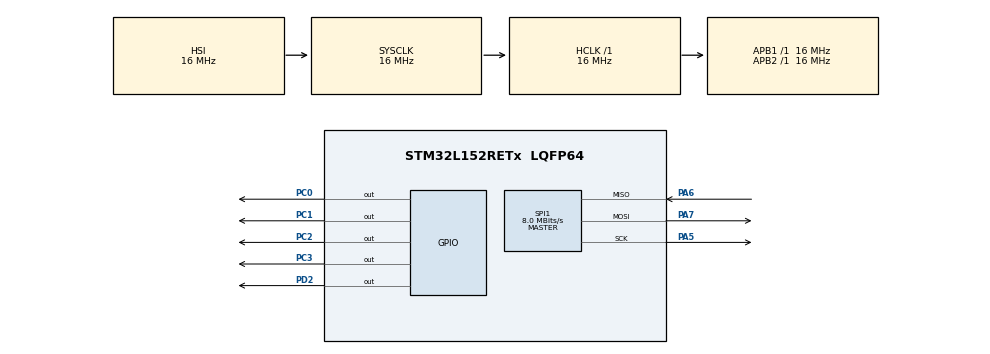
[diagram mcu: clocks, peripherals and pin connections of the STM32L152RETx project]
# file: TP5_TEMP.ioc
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ADC.Channel-1\#ChannelRegularConversion=ADC_CHANNEL_TEMPSENSOR
ADC.NbrOfConversionFlag=1
ADC.Rank-1\#ChannelRegularConversion=1
ADC.SamplingTime-1\#ChannelRegularConversion=ADC_SAMPLETIME_4CYCLES
Mcu.Family=STM32L1
Mcu.Name=STM32L152RETx
Mcu.Package=LQFP64
NVIC.PriorityGroup=NVIC_PRIORITYGROUP_4
PA0-WKUP1.Signal=ADC_IN0
PA5.Mode=Full_Duplex_Master
PA5.Signal=SPI1_SCK
PA6.Mode=Full_Duplex_Master
PA6.Signal=SPI1_MISO
PA7.Mode=Full_Duplex_Master
PA7.Signal=SPI1_MOSI
PB15.Signal=S_TIM11_CH1
PB7.Signal=S_TIM4_CH2
PC0.Signal=GPIO_Output
PC1.PinState=GPIO_PIN_SET
PC1.Signal=GPIO_Output
PC2.PinState=GPIO_PIN_SET
PC2.Signal=GPIO_Output
PC3.PinState=GPIO_PIN_SET
PC3.Signal=GPIO_Output
PD2.PinState=GPIO_PIN_SET
PD2.Signal=GPIO_Output
ProjectManager.HeapSize=0x200
ProjectManager.StackSize=0x400
ProjectManager.TargetToolchain=STM32CubeIDE
RCC.AHBFreq_Value=16000000
RCC.APB1Freq_Value=16000000
RCC.APB1TimFreq_Value=16000000
RCC.APB2Freq_Value=16000000
RCC.APB2TimFreq_Value=16000000
RCC.HCLKFreq_Value=16000000
RCC.HSE_VALUE=24000000
RCC.HSI_VALUE=16000000
RCC.LSE_VALUE=32768
RCC.MSI_VALUE=2097000
RCC.SYSCLKFreq_VALUE=16000000
RCC.SYSCLKSource=RCC_SYSCLKSOURCE_HSI
RCC.VCOOutputFreq_Value=48000000
SH.S_TIM11_CH1.0=TIM11_CH1
SH.S_TIM4_CH2.0=TIM4_CH2
SPI1.CalculateBaudRate=8.0 MBits/s
SPI1.Direction=SPI_DIRECTION_2LINES
SPI1.Mode=SPI_MODE_MASTER
SPI1.VirtualType=VM_MASTER
VP_ADC_TempSens_Input.Mode=IN-TempSens
board=custom

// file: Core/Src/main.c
/* USER CODE BEGIN Header */
/**
  ******************************************************************************
  * @file           : main.c
  * @brief          : Main program body
  ******************************************************************************
  * @attention
  *
  * Copyright (c) 2025 STMicroelectronics.
  * All rights reserved.
  *
  * This software is licensed under terms that can be found in the LICENSE file
  * in the root directory of this software component.
  * If no LICENSE file comes with this software, it is provided AS-IS.
  *
  ******************************************************************************
  */
/* USER CODE END Header */
#include "main.h"

/* USER CODE BEGIN Includes */
#include "max7219.h"
#include "fonc_tft.h"

/* USER CODE END Includes */

ADC_HandleTypeDef hadc;

SPI_HandleTypeDef hspi1;

void SystemClock_Config(void);
static void MX_GPIO_Init(void);
static void MX_SPI1_Init(void);
static void MX_ADC_Init(void);
/* USER CODE BEGIN PFP */
void affiche_nombre(uint32_t nombre, uint8_t col, uint8_t ligne);

/* USER CODE END PFP */

/* USER CODE BEGIN 0 */
void affiche_nombre(uint32_t nombre, uint8_t col, uint8_t ligne) {
    if (nombre < 0 || nombre > 9999) {
        return;
    }

    uint8_t mil = nombre / 1000;
    uint8_t cen = (nombre / 100) % 10;
    uint8_t diz = (nombre / 10) % 10;
    uint8_t uni = nombre % 10;

    displayChar_TFT(col, ligne, mil + 0x30, ST7735_YELLOW, ST7735_BLACK, 2);
    displayChar_TFT(col + 12, ligne, cen + 0x30, ST7735_YELLOW, ST7735_BLACK, 2);
    displayChar_TFT(col + 24, ligne, diz + 0x30, ST7735_YELLOW, ST7735_BLACK, 2);
    displayChar_TFT(col + 36, ligne, uni + 0x30, ST7735_YELLOW, ST7735_BLACK, 2);
    displayChar_TFT(col + 48, ligne, ' ', ST7735_YELLOW, ST7735_BLACK, 2);
    displayChar_TFT(col + 60, ligne, 'C', ST7735_YELLOW, ST7735_BLACK, 2);
}

/* USER CODE END 0 */

int main(void)
{

  /* MCU Configuration--------------------------------------------------------*/

  /* Reset of all peripherals, Initializes the Flash interface and the Systick. */
  HAL_Init();

  /* Configure the system clock */
  SystemClock_Config();

  /* Initialize all configured peripherals */
  MX_GPIO_Init();
  MX_SPI1_Init();
  MX_ADC_Init();
  /* USER CODE BEGIN 2 */
  MAX7219_Init();
  init_TFT();
  MAX7219_Clear();

  /* USER CODE END 2 */

  /* Infinite loop */
  /* USER CODE BEGIN WHILE */
  const uint16_t TS_CAL1 = *(uint16_t*)0x1FF800FA;
  const uint16_t TS_CAL2 = *(uint16_t*)0x1FF800FE;
  const uint16_t VREFINT_CAL = *(uint16_t*)0x1FF800F8;
  const int32_t vrefint_value = 1210;
  float vdda_div_3 = (float)VREFINT_CAL / vrefint_value;
  while (1)
  {
    /* USER CODE END WHILE */

    /* USER CODE BEGIN 3 */
	  HAL_ADC_Start(&hadc);
	  HAL_ADC_PollForConversion(&hadc, 1000);
	  uint32_t temp_value = (HAL_ADC_GetValue(&hadc) / 4096.0) * 3300;
	  HAL_ADC_Stop(&hadc);
	  float temperature = 80 * (temp_value * vdda_div_3 - TS_CAL1) / (TS_CAL2 - TS_CAL1) + 30;
	  affiche_nombre((uint32_t)(temperature), 10, 80);
  }

  /* USER CODE END 3 */
}

void SystemClock_Config(void)
{
  RCC_OscInitTypeDef RCC_OscInitStruct = {0};
  RCC_ClkInitTypeDef RCC_ClkInitStruct = {0};

  /** Configure the main internal regulator output voltage
  */
  __HAL_PWR_VOLTAGESCALING_CONFIG(PWR_REGULATOR_VOLTAGE_SCALE1);

  /** Initializes the RCC Oscillators according to the specified parameters
  * in the RCC_OscInitTypeDef structure.
  */
  RCC_OscInitStruct.OscillatorType = RCC_OSCILLATORTYPE_HSI;
  RCC_OscInitStruct.HSIState = RCC_HSI_ON;
  RCC_OscInitStruct.HSICalibrationValue = RCC_HSICALIBRATION_DEFAULT;
  RCC_OscInitStruct.PLL.PLLState = RCC_PLL_NONE;
  if (HAL_RCC_OscConfig(&RCC_OscInitStruct) != HAL_OK)
  {
    Error_Handler();
  }

  /** Initializes the CPU, AHB and APB buses clocks
  */
  RCC_ClkInitStruct.ClockType = RCC_CLOCKTYPE_HCLK|RCC_CLOCKTYPE_SYSCLK
                              |RCC_CLOCKTYPE_PCLK1|RCC_CLOCKTYPE_PCLK2;
  RCC_ClkInitStruct.SYSCLKSource = RCC_SYSCLKSOURCE_HSI;
  RCC_ClkInitStruct.AHBCLKDivider = RCC_SYSCLK_DIV1;
  RCC_ClkInitStruct.APB1CLKDivider = RCC_HCLK_DIV1;
  RCC_ClkInitStruct.APB2CLKDivider = RCC_HCLK_DIV1;

  if (HAL_RCC_ClockConfig(&RCC_ClkInitStruct, FLASH_LATENCY_0) != HAL_OK)
  {
    Error_Handler();
  }
}

static void MX_ADC_Init(void)
{

  ADC_ChannelConfTypeDef sConfig = {0};

  /** Configure the global features of the ADC (Clock, Resolution, Data Alignment and number of conversion)
  */
  hadc.Instance = ADC1;
  hadc.Init.ClockPrescaler = ADC_CLOCK_ASYNC_DIV1;
  hadc.Init.Resolution = ADC_RESOLUTION_12B;
  hadc.Init.DataAlign = ADC_DATAALIGN_RIGHT;
  hadc.Init.ScanConvMode = ADC_SCAN_DISABLE;
  hadc.Init.EOCSelection = ADC_EOC_SEQ_CONV;
  hadc.Init.LowPowerAutoWait = ADC_AUTOWAIT_DISABLE;
  hadc.Init.LowPowerAutoPowerOff = ADC_AUTOPOWEROFF_DISABLE;
  hadc.Init.ChannelsBank = ADC_CHANNELS_BANK_A;
  hadc.Init.ContinuousConvMode = DISABLE;
  hadc.Init.NbrOfConversion = 1;
  hadc.Init.DiscontinuousConvMode = DISABLE;
  hadc.Init.ExternalTrigConv = ADC_SOFTWARE_START;
  hadc.Init.ExternalTrigConvEdge = ADC_EXTERNALTRIGCONVEDGE_NONE;
  hadc.Init.DMAContinuousRequests = DISABLE;
  if (HAL_ADC_Init(&hadc) != HAL_OK)
  {
    Error_Handler();
  }

  /** Configure for the selected ADC regular channel its corresponding rank in the sequencer and its sample time.
  */
  sConfig.Channel = ADC_CHANNEL_TEMPSENSOR;
  sConfig.Rank = ADC_REGULAR_RANK_1;
  sConfig.SamplingTime = ADC_SAMPLETIME_4CYCLES;
  if (HAL_ADC_ConfigChannel(&hadc, &sConfig) != HAL_OK)
  {
    Error_Handler();
  }

}

static void MX_SPI1_Init(void)
{

  /* SPI1 parameter configuration*/
  hspi1.Instance = SPI1;
  hspi1.Init.Mode = SPI_MODE_MASTER;
  hspi1.Init.Direction = SPI_DIRECTION_2LINES;
  hspi1.Init.DataSize = SPI_DATASIZE_8BIT;
  hspi1.Init.CLKPolarity = SPI_POLARITY_LOW;
  hspi1.Init.CLKPhase = SPI_PHASE_1EDGE;
  hspi1.Init.NSS = SPI_NSS_SOFT;
  hspi1.Init.BaudRatePrescaler = SPI_BAUDRATEPRESCALER_2;
  hspi1.Init.FirstBit = SPI_FIRSTBIT_MSB;
  hspi1.Init.TIMode = SPI_TIMODE_DISABLE;
  hspi1.Init.CRCCalculation = SPI_CRCCALCULATION_DISABLE;
  hspi1.Init.CRCPolynomial = 10;
  if (HAL_SPI_Init(&hspi1) != HAL_OK)
  {
    Error_Handler();
  }

}

static void MX_GPIO_Init(void)
{
  GPIO_InitTypeDef GPIO_InitStruct = {0};

  /* GPIO Ports Clock Enable */
  __HAL_RCC_GPIOC_CLK_ENABLE();
  __HAL_RCC_GPIOA_CLK_ENABLE();
  __HAL_RCC_GPIOB_CLK_ENABLE();
  __HAL_RCC_GPIOD_CLK_ENABLE();

  /*Configure GPIO pin Output Level */
  HAL_GPIO_WritePin(GPIOC, GPIO_PIN_0, GPIO_PIN_RESET);

  /*Configure GPIO pin Output Level */
  HAL_GPIO_WritePin(GPIOC, GPIO_PIN_1|GPIO_PIN_2|GPIO_PIN_3, GPIO_PIN_SET);

  /*Configure GPIO pin Output Level */
  HAL_GPIO_WritePin(GPIOD, GPIO_PIN_2, GPIO_PIN_SET);

  /*Configure GPIO pins : PC0 PC1 PC2 PC3 */
  GPIO_InitStruct.Pin = GPIO_PIN_0|GPIO_PIN_1|GPIO_PIN_2|GPIO_PIN_3;
  GPIO_InitStruct.Mode = GPIO_MODE_OUTPUT_PP;
  GPIO_InitStruct.Pull = GPIO_NOPULL;
  GPIO_InitStruct.Speed = GPIO_SPEED_FREQ_LOW;
  HAL_GPIO_Init(GPIOC, &GPIO_InitStruct);

  /*Configure GPIO pin : PB15 */
  GPIO_InitStruct.Pin = GPIO_PIN_15;
  GPIO_InitStruct.Mode = GPIO_MODE_AF_PP;
  GPIO_InitStruct.Pull = GPIO_NOPULL;
  GPIO_InitStruct.Speed = GPIO_SPEED_FREQ_LOW;
  GPIO_InitStruct.Alternate = GPIO_AF3_TIM11;
  HAL_GPIO_Init(GPIOB, &GPIO_InitStruct);

  /*Configure GPIO pin : PD2 */
  GPIO_InitStruct.Pin = GPIO_PIN_2;
  GPIO_InitStruct.Mode = GPIO_MODE_OUTPUT_PP;
  GPIO_InitStruct.Pull = GPIO_NOPULL;
  GPIO_InitStruct.Speed = GPIO_SPEED_FREQ_LOW;
  HAL_GPIO_Init(GPIOD, &GPIO_InitStruct);

  /*Configure GPIO pin : PB7 */
  GPIO_InitStruct.Pin = GPIO_PIN_7;
  GPIO_InitStruct.Mode = GPIO_MODE_AF_PP;
  GPIO_InitStruct.Pull = GPIO_NOPULL;
  GPIO_InitStruct.Speed = GPIO_SPEED_FREQ_LOW;
  GPIO_InitStruct.Alternate = GPIO_AF2_TIM4;
  HAL_GPIO_Init(GPIOB, &GPIO_InitStruct);

}

void Error_Handler(void)
{
  __disable_irq();
  while (1)
  {
  }
}
